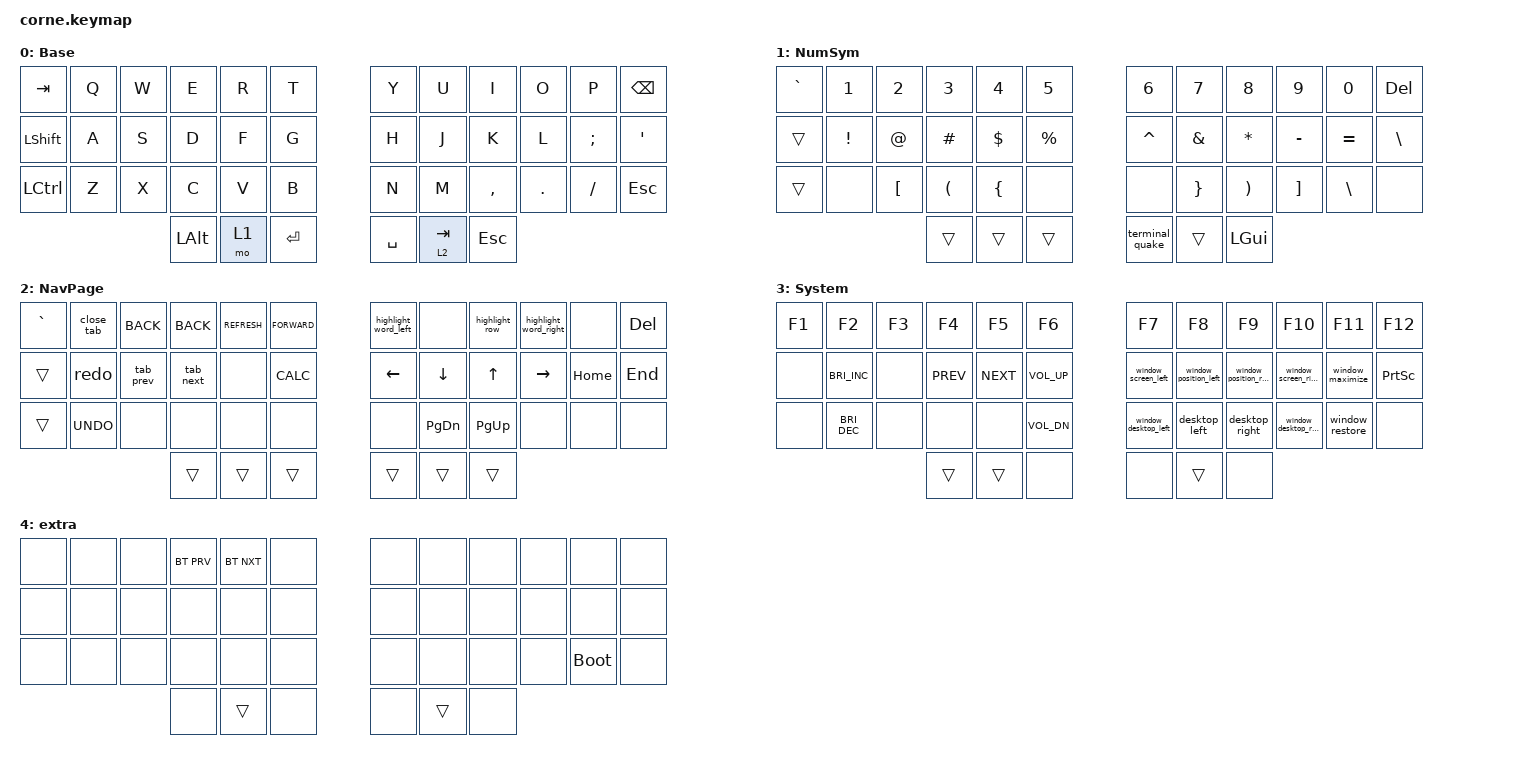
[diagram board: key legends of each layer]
#include <behaviors.dtsi>
#include <dt-bindings/zmk/bt.h>
#include <dt-bindings/zmk/keys.h>

#define DEF 0
#define NAV 1
#define SYM 2
#define ADJ 3
#define EXTRA 4

/ {
    behaviors {
        hm: homerow_mods {
            compatible = "zmk,behavior-hold-tap";
            label = "HOMEROW_MODS";
            #binding-cells = <2>;
            tapping-term-ms = <200>;
            quick_tap_ms = <0>;
            flavor = "tap-preferred";
            bindings = <&kp>, <&kp>;

            quick-tap-ms = <180>;
            global-quick-tap;
        };

        para: para {
            compatible = "zmk,behavior-tap-dance";
            label = "PARA";
            #binding-cells = <0>;
            bindings = <&kp LEFT_PARENTHESIS>, <&kp RIGHT_PARENTHESIS>;
        };

        caps: caps {
            compatible = "zmk,behavior-caps-word";
            label = "CAPS";
            #binding-cells = <0>;
            continue-list = <MINUS BACKSPACE>;
        };

        paraless: paraless {
            compatible = "zmk,behavior-mod-morph";
            label = "PARALESS";
            bindings = <&kp LEFT_PARENTHESIS>, <&kp LESS_THAN>;

            #binding-cells = <0>;
            mods = <(MOD_LSFT)>;
        };

        paragreat: paragreat {
            compatible = "zmk,behavior-mod-morph";
            label = "PARAGREAT";
            bindings = <&kp RIGHT_PARENTHESIS>, <&kp GREATER_THAN>;

            #binding-cells = <0>;
            mods = <(MOD_LSFT)>;
        };
    };

    macros {
        terminal_quake: terminal_quake {
            compatible = "zmk,behavior-macro";
            #binding-cells = <0>;
            bindings =
                <&macro_press>,
                <&kp LCTRL>,
                <&macro_press>,
                <&kp LEFT_ALT>,
                <&macro_tap>,
                <&kp SPACE>,
                <&macro_release>,
                <&kp LALT>,
                <&macro_release>,
                <&kp LCTRL>;

            label = "TERMINAL_QUAKE";
        };

        window_desktop_left: window_desktop_left {
            compatible = "zmk,behavior-macro";
            #binding-cells = <0>;
            bindings =
                <&macro_press>,
                <&kp LCTRL>,
                <&macro_press>,
                <&kp LEFT_ALT>,
                <&macro_tap>,
                <&kp LS(LEFT)>,
                <&macro_release>,
                <&kp LALT>,
                <&macro_release>,
                <&kp LCTRL>;

            label = "WINDOW_DESKTOP_LEFT";
        };

        desktop_left: desktop_left {
            compatible = "zmk,behavior-macro";
            #binding-cells = <0>;
            bindings =
                <&macro_press>,
                <&kp LCTRL>,
                <&macro_press>,
                <&kp LEFT_ALT>,
                <&macro_tap>,
                <&kp LEFT>,
                <&macro_release>,
                <&kp LALT>,
                <&macro_release>,
                <&kp LCTRL>;

            label = "DESKTOP_LEFT";
        };

        desktop_right: desktop_right {
            compatible = "zmk,behavior-macro";
            #binding-cells = <0>;
            bindings =
                <&macro_press>,
                <&kp LCTRL>,
                <&macro_press>,
                <&kp LEFT_ALT>,
                <&macro_tap>,
                <&kp RIGHT>,
                <&macro_release>,
                <&kp LALT>,
                <&macro_release>,
                <&kp LCTRL>;

            label = "DESKTOP_RIGHT";
        };

        window_desktop_right: window_desktop_right {
            compatible = "zmk,behavior-macro";
            #binding-cells = <0>;
            bindings =
                <&macro_press>,
                <&kp LCTRL>,
                <&macro_press>,
                <&kp LEFT_ALT>,
                <&macro_tap>,
                <&kp LS(RIGHT)>,
                <&macro_release>,
                <&kp LALT>,
                <&macro_release>,
                <&kp LCTRL>;

            label = "WINDOW_DESKTOP_RIGHT";
        };

        highlight_word_left: highlight_word {
            compatible = "zmk,behavior-macro";
            #binding-cells = <0>;
            bindings =
                <&macro_press>,
                <&kp LCTRL>,
                <&macro_tap>,
                <&kp LS(LEFT)>,
                <&macro_release>,
                <&kp LCTRL>;

            label = "HIGHLIGHT_WORD";
        };

        highlight_word_right: highlight_word_right {
            compatible = "zmk,behavior-macro";
            #binding-cells = <0>;
            bindings =
                <&macro_press>,
                <&kp LCTRL>,
                <&macro_tap>,
                <&kp LS(RIGHT)>,
                <&macro_release>,
                <&kp LCTRL>;

            label = "HIGHLIGHT_WORD_RIGHT";
        };

        highlight_row: highlight_row {
            compatible = "zmk,behavior-macro";
            #binding-cells = <0>;
            bindings = <&macro_tap>, <&kp HOME>, <&macro_tap>, <&kp LS(END)>;

            label = "HIGHLIGHT_ROW";
        };

        tab_prev: tab_prev {
            compatible = "zmk,behavior-macro";
            #binding-cells = <0>;
            bindings =
                <&macro_press>,
                <&kp LCTRL>,
                <&macro_tap>,
                <&kp LS(TAB)>,
                <&macro_release>,
                <&kp LCTRL>;

            label = "TAB_PREV";
        };

        tab_next: tab_next {
            compatible = "zmk,behavior-macro";
            #binding-cells = <0>;
            bindings =
                <&macro_press>,
                <&kp LCTRL>,
                <&macro_tap>,
                <&kp TAB>,
                <&macro_release>,
                <&kp LCTRL>;

            label = "TAB_NEXT";
        };

        window_screen_left: window_screen_left {
            compatible = "zmk,behavior-macro";
            #binding-cells = <0>;
            bindings =
                <&macro_press>,
                <&kp LEFT_GUI>,
                <&macro_tap>,
                <&kp LS(LEFT)>,
                <&macro_release>,
                <&kp LEFT_GUI>;

            label = "WINDOW_SCREEN_LEFT";
        };

        window_screen_right: window_screen_right {
            compatible = "zmk,behavior-macro";
            #binding-cells = <0>;
            bindings =
                <&macro_press>,
                <&kp LEFT_GUI>,
                <&macro_tap>,
                <&kp LS(RIGHT)>,
                <&macro_release>,
                <&kp LEFT_GUI>;

            label = "WINDOW_SCREEN_RIGHT";
        };

        window_position_left: window_position_left {
            compatible = "zmk,behavior-macro";
            #binding-cells = <0>;
            bindings =
                <&macro_press>,
                <&kp LEFT_GUI>,
                <&macro_tap>,
                <&kp LEFT>,
                <&macro_release>,
                <&kp LEFT_GUI>;

            label = "WINDOW_POSITION_LEFT";
        };

        window_position_right: window_position_right {
            compatible = "zmk,behavior-macro";
            #binding-cells = <0>;
            bindings =
                <&macro_press>,
                <&kp LEFT_GUI>,
                <&macro_tap>,
                <&kp RIGHT>,
                <&macro_release>,
                <&kp LEFT_GUI>;

            label = "WINDOW_POSITION_RIGHT";
        };

        window_maximize: window_maximize {
            compatible = "zmk,behavior-macro";
            #binding-cells = <0>;
            bindings =
                <&macro_press>,
                <&kp LEFT_GUI>,
                <&macro_tap>,
                <&kp UP>,
                <&macro_release>,
                <&kp LEFT_GUI>;

            label = "WINDOW_MAXIMIZE";
        };

        window_restore: window_restore {
            compatible = "zmk,behavior-macro";
            #binding-cells = <0>;
            bindings =
                <&macro_press>,
                <&kp LEFT_GUI>,
                <&macro_tap>,
                <&kp DOWN>,
                <&macro_release>,
                <&kp LEFT_GUI>;

            label = "WINDOW_RESTORE";
        };

        redo: redo {
            compatible = "zmk,behavior-macro";
            #binding-cells = <0>;
            bindings =
                <&macro_press>,
                <&kp LCTRL>,
                <&macro_tap>,
                <&kp LS(Z)>,
                <&macro_release>,
                <&kp LCTRL>;

            label = "REDO";
        };

        close_tab: close_tab {
            compatible = "zmk,behavior-macro";
            #binding-cells = <0>;
            bindings =
                <&macro_press>,
                <&kp LEFT_CONTROL>,
                <&macro_tap>,
                <&kp W>,
                <&macro_release>,
                <&kp LEFT_CONTROL>;

            label = "CLOSE_TAB";
        };
    };

    combos {
        compatible = "zmk,combos";

        copy {
            bindings = <&kp K_PASTE>;
            key-positions = <28 27>;
            layers = <2>;
        };

        paste {
            bindings = <&kp K_COPY>;
            key-positions = <26 27>;
            layers = <2>;
        };

        cut {
            bindings = <&kp K_CUT>;
            key-positions = <25 26>;
            layers = <2>;
        };

        play_pause {
            bindings = <&kp K_PLAY_PAUSE>;
            key-positions = <16 15>;
            layers = <3>;
        };

        lshift {
            bindings = <&kp LEFT_SHIFT>;
            key-positions = <37 38>;
        };

        l4 {
            bindings = <&mo 4>;
            key-positions = <39 38>;
        };
    };

    //

    keymap {
        compatible = "zmk,keymap";

        DEF {
            display-name = "Base";

            // -----------------------------------------------------------------------------------------
            // |  Q  |  W  |  E  |  R  |  T  |   |  Y  |  U   |  I  |  O  |  P  |
            // |  A  |  S  |  D  |  F  |  G  |   |  H  |  J   |  K  |  L  |  ;  |
            // |  Z  |  X  |  C  |  V  |  B  |   |  N  |  M   |  ,  |  .  |  /  |
            // | GUI | CTRL | SHFT | LWR | SPC |   | ENT | RSE  | BKSP | ALT | ESC |

            bindings = <
&kp TAB    &kp Q  &kp W  &kp E         &kp R  &kp T      &kp Y      &kp U      &kp I      &kp O    &kp P     &kp BACKSPACE
&kp LSHFT  &kp A  &kp S  &kp D         &kp F  &kp G      &kp H      &kp J      &kp K      &kp L    &kp SEMI  &kp SQT
&kp LCTRL  &kp Z  &kp X  &kp C         &kp V  &kp B      &kp N      &kp M      &kp COMMA  &kp DOT  &kp FSLH  &kp ESC
                         &kp LEFT_ALT  &mo 1  &kp RET    &kp SPACE  &lt 2 TAB  &kp ESC
            >;
        };

        NUMSYM {
            display-name = "NumSym";

            // -----------------------------------------------------------------------------------------
            // |  TAB |  1  |  2  |  3  |  4  |  5  |   |  6  |  7  |  8  |  9  |  0  | BKSP |
            // | BTCLR| BT1 | BT2 | BT3 | BT4 | BT5 |   | LFT | DWN |  UP | RGT |     |      |
            // | SHFT |     |     |     |     |     |   |     |     |     |     |     |      |
            // | GUI | CTRL | SHFT | LWR | SPC |   | ENT | RSE  | BKSP | ALT | ESC |

            bindings = <
&kp GRAVE  &kp N1    &kp N2    &kp N3    &kp N4    &kp N5       &kp N6           &kp N7    &kp N8        &kp N9     &kp N0         &kp DEL
&trans     &kp EXCL  &kp AT    &kp HASH  &kp DLLR  &kp PRCNT    &kp CARET        &kp AMPS  &kp STAR      &kp MINUS  &kp EQUAL      &kp BACKSLASH
&trans     &none     &kp LBKT  &kp LPAR  &kp LBRC  &none        &none            &kp RBRC  &kp RPAR      &kp RBKT   &kp BACKSLASH  &none
                               &trans    &trans    &trans       &terminal_quake  &trans    &kp LEFT_GUI
            >;
        };

        NAVPAGE {
            display-name = "NavPage";

            // -----------------------------------------------------------------------------------------
            // |  TAB |  !  |  @  |  #  |  $  |  %  |   |  ^  |  &  |  *  |  (  |  )  | BKSP |
            // | CTRL |     |     |     |     |     |   |  -  |  =  |  [  |  ]  |  \  |  `   |
            // | SHFT |     |     |     |     |     |   |  _  |  +  |  {  |  }  | "|" |  ~   |
            //                    | GUI |     | SPC |   | ENT |     | ALT |

            bindings = <
&kp GRAVE  &close_tab  &kp K_BACK  &kp K_BACK  &kp K_REFRESH  &kp K_FORWARD    &highlight_word_left  &none           &highlight_row  &highlight_word_right  &none     &kp DEL
&trans     &redo       &tab_prev   &tab_next   &none          &kp K_CALC       &kp LEFT_ARROW        &kp DOWN_ARROW  &kp UP_ARROW    &kp RIGHT              &kp HOME  &kp END
&trans     &kp K_UNDO  &none       &none       &none          &none            &none                 &kp PAGE_DOWN   &kp PAGE_UP     &none                  &none     &none
                                   &trans      &trans         &trans           &trans                &trans          &trans
            >;
        };

        SYS {
            display-name = "System";
            bindings = <
&kp F1  &kp F2         &kp F3  &kp F4      &kp F5      &kp F6          &kp F7                &kp F8                 &kp F9                  &kp F10                &kp F11           &kp F12
&none   &kp C_BRI_INC  &none   &kp K_PREV  &kp K_NEXT  &kp C_VOL_UP    &window_screen_left   &window_position_left  &window_position_right  &window_screen_right   &window_maximize  &kp PRINTSCREEN
&none   &kp C_BRI_DEC  &none   &none       &none       &kp C_VOL_DN    &window_desktop_left  &desktop_left          &desktop_right          &window_desktop_right  &window_restore   &none
                               &trans      &trans      &none           &none                 &trans                 &none
            >;
        };

        BOARD {
            display-name = "extra";
            bindings = <
&none  &none  &none  &bt BT_PRV  &bt BT_NXT  &none    &none  &none   &none  &none  &none        &none
&none  &none  &none  &none       &none       &none    &none  &none   &none  &none  &none        &none
&none  &none  &none  &none       &none       &none    &none  &none   &none  &none  &bootloader  &none
                     &none       &trans      &none    &none  &trans  &none
            >;
        };
    };

    conditional_layers {
        compatible = "zmk,conditional-layers";

        l3 {
            if-layers = <1 2>;
            then-layer = <3>;
        };
    };
};
